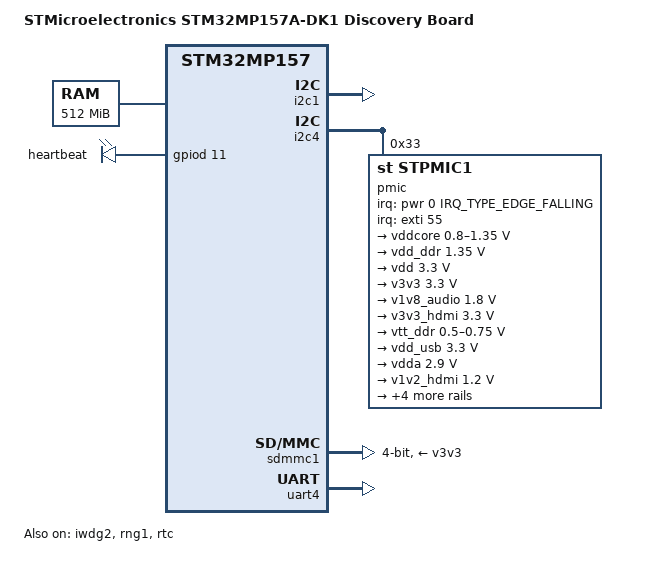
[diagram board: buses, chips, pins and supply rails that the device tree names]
// SPDX-License-Identifier: (GPL-2.0+ OR BSD-3-Clause)
/*
 * Copyright (C) STMicroelectronics 2018 - All Rights Reserved
 * Author: Alexandre Torgue <alexandre.torgue@st.com>.
 */

/dts-v1/;

#include "stm32mp157c.dtsi"
#include "stm32mp157cac-pinctrl.dtsi"
#include <dt-bindings/gpio/gpio.h>
#include <dt-bindings/input/input.h>
#include <dt-bindings/mfd/st,stpmic1.h>

/ {
	model = "STMicroelectronics STM32MP157A-DK1 Discovery Board";
	compatible = "st,stm32mp157a-dk1", "st,stm32mp157";

	chosen {
		stdout-path = "serial0:115200n8";
	};

	memory@c0000000 {
		reg = <0xc0000000 0x20000000>;
	};

	aliases {
		serial0 = &uart4;
	};

	led {
		compatible = "gpio-leds";
		blue {
			label = "heartbeat";
			gpios = <&gpiod 11 GPIO_ACTIVE_HIGH>;
			linux,default-trigger = "heartbeat";
			default-state = "off";
		};
	};
};

&i2c1 {
	pinctrl-names = "default", "sleep";
	pinctrl-0 = <&i2c1_pins_a>;
	pinctrl-1 = <&i2c1_pins_sleep_a>;
	i2c-scl-rising-time-ns = <100>;
	i2c-scl-falling-time-ns = <7>;
	status = "okay";
	/delete-property/dmas;
	/delete-property/dma-names;
};

&i2c4 {
	pinctrl-names = "default", "sleep";
	pinctrl-0 = <&i2c4_pins_a>;
	pinctrl-1 = <&i2c4_pins_sleep_a>;
	i2c-scl-rising-time-ns = <185>;
	i2c-scl-falling-time-ns = <20>;
	status = "okay";
	/delete-property/dmas;
	/delete-property/dma-names;

	pmic: stpmic@33 {
		compatible = "st,stpmic1";
		reg = <0x33>;
		interrupts-extended = <&pwr 0 IRQ_TYPE_EDGE_FALLING 1>,
				      <&exti 55 1>;
		interrupt-controller;
		#interrupt-cells = <2>;
		status = "okay";

		st,main-control-register = <0x04>;
		st,vin-control-register = <0xc0>;
		st,usb-control-register = <0x30>;

		regulators {
			compatible = "st,stpmic1-regulators";

			ldo1-supply = <&v3v3>;
			ldo3-supply = <&vdd_ddr>;
			ldo6-supply = <&v3v3>;
			pwr_sw1-supply = <&bst_out>;
			pwr_sw2-supply = <&bst_out>;

			vddcore: buck1 {
				regulator-name = "vddcore";
				regulator-min-microvolt = <800000>;
				regulator-max-microvolt = <1350000>;
				regulator-always-on;
				regulator-initial-mode = <0>;
				regulator-over-current-protection;
			};

			vdd_ddr: buck2 {
				regulator-name = "vdd_ddr";
				regulator-min-microvolt = <1350000>;
				regulator-max-microvolt = <1350000>;
				regulator-always-on;
				regulator-initial-mode = <0>;
				regulator-over-current-protection;
			};

			vdd: buck3 {
				regulator-name = "vdd";
				regulator-min-microvolt = <3300000>;
				regulator-max-microvolt = <3300000>;
				regulator-always-on;
				st,mask-reset;
				regulator-initial-mode = <2>;
				regulator-over-current-protection;
			};

			v3v3: buck4 {
				regulator-name = "v3v3";
				regulator-min-microvolt = <3300000>;
				regulator-max-microvolt = <3300000>;
				regulator-always-on;
				regulator-over-current-protection;
				regulator-initial-mode = <2>;
			};

			v1v8_audio: ldo1 {
				regulator-name = "v1v8_audio";
				regulator-min-microvolt = <1800000>;
				regulator-max-microvolt = <1800000>;
				regulator-always-on;
				interrupts = <IT_CURLIM_LDO1 0>;

			};

			v3v3_hdmi: ldo2 {
				regulator-name = "v3v3_hdmi";
				regulator-min-microvolt = <3300000>;
				regulator-max-microvolt = <3300000>;
				regulator-always-on;
				interrupts = <IT_CURLIM_LDO2 0>;

			};

			vtt_ddr: ldo3 {
				regulator-name = "vtt_ddr";
				regulator-min-microvolt = <500000>;
				regulator-max-microvolt = <750000>;
				regulator-always-on;
				regulator-over-current-protection;
			};

			vdd_usb: ldo4 {
				regulator-name = "vdd_usb";
				regulator-min-microvolt = <3300000>;
				regulator-max-microvolt = <3300000>;
				interrupts = <IT_CURLIM_LDO4 0>;
			};

			vdda: ldo5 {
				regulator-name = "vdda";
				regulator-min-microvolt = <2900000>;
				regulator-max-microvolt = <2900000>;
				interrupts = <IT_CURLIM_LDO5 0>;
				regulator-boot-on;
			};

			v1v2_hdmi: ldo6 {
				regulator-name = "v1v2_hdmi";
				regulator-min-microvolt = <1200000>;
				regulator-max-microvolt = <1200000>;
				regulator-always-on;
				interrupts = <IT_CURLIM_LDO6 0>;

			};

			vref_ddr: vref_ddr {
				regulator-name = "vref_ddr";
				regulator-always-on;
				regulator-over-current-protection;
			};

			 bst_out: boost {
				regulator-name = "bst_out";
				interrupts = <IT_OCP_BOOST 0>;
			 };

			vbus_otg: pwr_sw1 {
				regulator-name = "vbus_otg";
				interrupts = <IT_OCP_OTG 0>;
				regulator-active-discharge;
			 };

			 vbus_sw: pwr_sw2 {
				regulator-name = "vbus_sw";
				interrupts = <IT_OCP_SWOUT 0>;
				regulator-active-discharge;
			 };
		};

		onkey {
			compatible = "st,stpmic1-onkey";
			interrupts = <IT_PONKEY_F 0>, <IT_PONKEY_R 1>;
			interrupt-names = "onkey-falling", "onkey-rising";
			status = "okay";
		};

		watchdog {
			compatible = "st,stpmic1-wdt";
		};
	};
};

&iwdg2 {
	timeout-sec = <32>;
	status = "okay";
};

&rng1 {
	status = "okay";
};

&rtc {
	status = "okay";
};

&sdmmc1 {
	pinctrl-names = "default", "opendrain", "sleep";
	pinctrl-0 = <&sdmmc1_b4_pins_a>;
	pinctrl-1 = <&sdmmc1_b4_od_pins_a>;
	pinctrl-2 = <&sdmmc1_b4_sleep_pins_a>;
	broken-cd;
	st,negedge;
	bus-width = <4>;
	vmmc-supply = <&v3v3>;
	status = "okay";
};

&uart4 {
	pinctrl-names = "default", "sleep", "idle", "no_console_suspend";
	pinctrl-0 = <&uart4_pins_a>;
	pinctrl-1 = <&uart4_sleep_pins_a>;
	pinctrl-2 = <&uart4_idle_pins_a>;
	pinctrl-3 = <&uart4_pins_a>;
	status = "okay";
};
